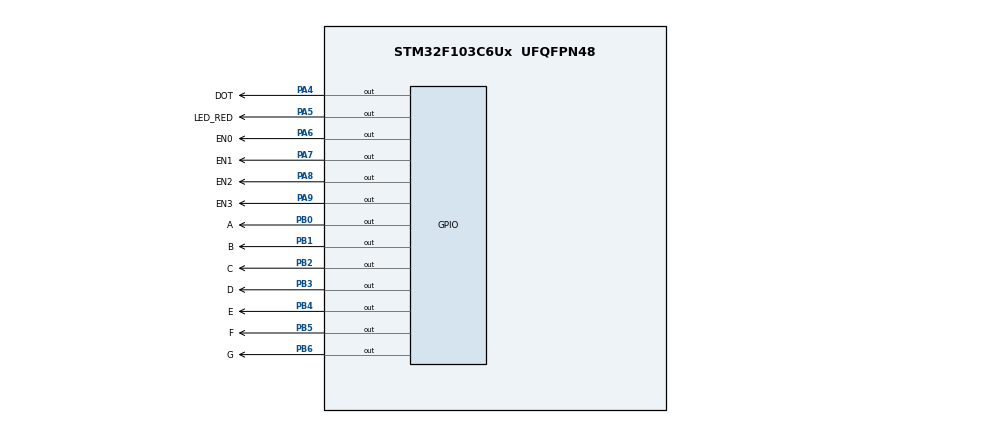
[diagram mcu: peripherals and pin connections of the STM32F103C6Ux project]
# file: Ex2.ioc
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Mcu.Family=STM32F1
Mcu.Name=STM32F103C6Ux
Mcu.Package=UFQFPN48
NVIC.PriorityGroup=NVIC_PRIORITYGROUP_4
NVIC.TIM2_IRQn=true\:0\:0\:false\:false\:true\:true\:true
PA4.GPIO_Label=DOT
PA4.Signal=GPIO_Output
PA5.GPIO_Label=LED_RED
PA5.Signal=GPIO_Output
PA6.GPIO_Label=EN0
PA6.Signal=GPIO_Output
PA7.GPIO_Label=EN1
PA7.Signal=GPIO_Output
PA8.GPIO_Label=EN2
PA8.Signal=GPIO_Output
PA9.GPIO_Label=EN3
PA9.Signal=GPIO_Output
PB0.GPIO_Label=A
PB0.Signal=GPIO_Output
PB1.GPIO_Label=B
PB1.Signal=GPIO_Output
PB2.GPIO_Label=C
PB2.Signal=GPIO_Output
PB3.GPIO_Label=D
PB3.Signal=GPIO_Output
PB4.GPIO_Label=E
PB4.Signal=GPIO_Output
PB5.GPIO_Label=F
PB5.Signal=GPIO_Output
PB6.GPIO_Label=G
PB6.Signal=GPIO_Output
ProjectManager.HeapSize=0x200
ProjectManager.StackSize=0x400
ProjectManager.TargetToolchain=STM32CubeIDE
RCC.APB1Freq_Value=8000000
RCC.APB2Freq_Value=8000000
TIM2.Period=9
TIM2.Prescaler=7999
VP_SYS_VS_ND.Mode=No_Debug
VP_TIM2_VS_ClockSourceINT.Mode=Internal
board=custom

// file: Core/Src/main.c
/* USER CODE BEGIN Header */
/**
  ******************************************************************************
  * @file           : main.c
  * @brief          : Main program body
  ******************************************************************************
  * @attention
  *
  * <h2><center>&copy; Copyright (c) 2022 STMicroelectronics.
  * All rights reserved.</center></h2>
  *
  * This software component is licensed by ST under BSD 3-Clause license,
  * the "License"; You may not use this file except in compliance with the
  * License. You may obtain a copy of the License at:
  *                        opensource.org/licenses/BSD-3-Clause
  *
  ******************************************************************************
  */
/* USER CODE END Header */
#include "main.h"

TIM_HandleTypeDef htim2;

void SystemClock_Config(void);
static void MX_TIM2_Init(void);
static void MX_GPIO_Init(void);

void display7SEG(int num)
{
	int seg[10]={0xC0, 0xF9, 0xA4, 0xB0, 0x99, 0x92, 0x82, 0xF8, 0x80, 0x90};
	HAL_GPIO_WritePin(GPIOB, A_Pin,((seg[num]>>0)&0x01));
	HAL_GPIO_WritePin(GPIOB, B_Pin,((seg[num]>>1)&0x01));
	HAL_GPIO_WritePin(GPIOB, C_Pin,((seg[num]>>2)&0x01));
	HAL_GPIO_WritePin(GPIOB, D_Pin,((seg[num]>>3)&0x01));
	HAL_GPIO_WritePin(GPIOB, E_Pin,((seg[num]>>4)&0x01));
	HAL_GPIO_WritePin(GPIOB, F_Pin,((seg[num]>>5)&0x01));
	HAL_GPIO_WritePin(GPIOB, G_Pin,((seg[num]>>6)&0x01));
}
int main(void)
{

  /* MCU Configuration--------------------------------------------------------*/

  /* Reset of all peripherals, Initializes the Flash interface and the Systick. */
  HAL_Init();

  /* Configure the system clock */
  SystemClock_Config();

  /* Initialize all configured peripherals */
  MX_TIM2_Init();
  MX_GPIO_Init();
  /* USER CODE BEGIN 2 */
  HAL_TIM_Base_Start_IT(&htim2);
  /* USER CODE END 2 */

  /* Infinite loop */
  while (1)
  {

  }
}

void SystemClock_Config(void)
{
  RCC_OscInitTypeDef RCC_OscInitStruct = {0};
  RCC_ClkInitTypeDef RCC_ClkInitStruct = {0};

  /** Initializes the RCC Oscillators according to the specified parameters
  * in the RCC_OscInitTypeDef structure.
  */
  RCC_OscInitStruct.OscillatorType = RCC_OSCILLATORTYPE_HSI;
  RCC_OscInitStruct.HSIState = RCC_HSI_ON;
  RCC_OscInitStruct.HSICalibrationValue = RCC_HSICALIBRATION_DEFAULT;
  RCC_OscInitStruct.PLL.PLLState = RCC_PLL_NONE;
  if (HAL_RCC_OscConfig(&RCC_OscInitStruct) != HAL_OK)
  {
    Error_Handler();
  }
  /** Initializes the CPU, AHB and APB buses clocks
  */
  RCC_ClkInitStruct.ClockType = RCC_CLOCKTYPE_HCLK|RCC_CLOCKTYPE_SYSCLK
                              |RCC_CLOCKTYPE_PCLK1|RCC_CLOCKTYPE_PCLK2;
  RCC_ClkInitStruct.SYSCLKSource = RCC_SYSCLKSOURCE_HSI;
  RCC_ClkInitStruct.AHBCLKDivider = RCC_SYSCLK_DIV1;
  RCC_ClkInitStruct.APB1CLKDivider = RCC_HCLK_DIV1;
  RCC_ClkInitStruct.APB2CLKDivider = RCC_HCLK_DIV1;

  if (HAL_RCC_ClockConfig(&RCC_ClkInitStruct, FLASH_LATENCY_0) != HAL_OK)
  {
    Error_Handler();
  }
}

static void MX_TIM2_Init(void)
{

  TIM_ClockConfigTypeDef sClockSourceConfig = {0};
  TIM_MasterConfigTypeDef sMasterConfig = {0};

  htim2.Instance = TIM2;
  htim2.Init.Prescaler = 7999;
  htim2.Init.CounterMode = TIM_COUNTERMODE_UP;
  htim2.Init.Period = 9;
  htim2.Init.ClockDivision = TIM_CLOCKDIVISION_DIV1;
  htim2.Init.AutoReloadPreload = TIM_AUTORELOAD_PRELOAD_DISABLE;
  if (HAL_TIM_Base_Init(&htim2) != HAL_OK)
  {
    Error_Handler();
  }
  sClockSourceConfig.ClockSource = TIM_CLOCKSOURCE_INTERNAL;
  if (HAL_TIM_ConfigClockSource(&htim2, &sClockSourceConfig) != HAL_OK)
  {
    Error_Handler();
  }
  sMasterConfig.MasterOutputTrigger = TIM_TRGO_RESET;
  sMasterConfig.MasterSlaveMode = TIM_MASTERSLAVEMODE_DISABLE;
  if (HAL_TIMEx_MasterConfigSynchronization(&htim2, &sMasterConfig) != HAL_OK)
  {
    Error_Handler();
  }

}

static void MX_GPIO_Init(void)
{
  GPIO_InitTypeDef GPIO_InitStruct = {0};

  /* GPIO Ports Clock Enable */
  __HAL_RCC_GPIOA_CLK_ENABLE();
  __HAL_RCC_GPIOB_CLK_ENABLE();

  /*Configure GPIO pin Output Level */
  HAL_GPIO_WritePin(GPIOA, DOT_Pin|LED_RED_Pin|EN0_Pin|EN1_Pin
                          |EN2_Pin|EN3_Pin, GPIO_PIN_RESET);

  /*Configure GPIO pin Output Level */
  HAL_GPIO_WritePin(GPIOB, A_Pin|B_Pin|C_Pin|D_Pin
                          |E_Pin|F_Pin|G_Pin, GPIO_PIN_RESET);

  /*Configure GPIO pins : DOT_Pin LED_RED_Pin EN0_Pin EN1_Pin
                           EN2_Pin EN3_Pin */
  GPIO_InitStruct.Pin = DOT_Pin|LED_RED_Pin|EN0_Pin|EN1_Pin
                          |EN2_Pin|EN3_Pin;
  GPIO_InitStruct.Mode = GPIO_MODE_OUTPUT_PP;
  GPIO_InitStruct.Pull = GPIO_NOPULL;
  GPIO_InitStruct.Speed = GPIO_SPEED_FREQ_LOW;
  HAL_GPIO_Init(GPIOA, &GPIO_InitStruct);

  /*Configure GPIO pins : A_Pin B_Pin C_Pin D_Pin
                           E_Pin F_Pin G_Pin */
  GPIO_InitStruct.Pin = A_Pin|B_Pin|C_Pin|D_Pin
                          |E_Pin|F_Pin|G_Pin;
  GPIO_InitStruct.Mode = GPIO_MODE_OUTPUT_PP;
  GPIO_InitStruct.Pull = GPIO_NOPULL;
  GPIO_InitStruct.Speed = GPIO_SPEED_FREQ_LOW;
  HAL_GPIO_Init(GPIOB, &GPIO_InitStruct);

}

/* USER CODE BEGIN 4 */
int count=51;
int seg=1;
int turn=0;
int led=2;
void HAL_TIM_PeriodElapsedCallback(TIM_HandleTypeDef *htim)
{
	switch(turn)
	{
	case 0:
	{
		HAL_GPIO_WritePin(GPIOA, EN0_Pin,SET);
		HAL_GPIO_WritePin(GPIOA, EN1_Pin, SET);
		HAL_GPIO_WritePin(GPIOA, EN2_Pin, SET);
		HAL_GPIO_WritePin(GPIOA, EN3_Pin, SET);
		turn=1;
		count--;
		break;
	}
	case 1:
		HAL_GPIO_WritePin(GPIOA, EN1_Pin,SET);
		HAL_GPIO_WritePin(GPIOA, EN2_Pin,SET);
		HAL_GPIO_WritePin(GPIOA, EN3_Pin,SET);
		HAL_GPIO_WritePin(GPIOA, EN0_Pin, RESET);
		seg=1;
		display7SEG(seg);
		count--;
		if(count<=0)
		{
			count=50;
			turn=2;
			led--;
			if (led<=0){
				HAL_GPIO_TogglePin(GPIOA, DOT_Pin);
				led=2;
			}
		}
		break;
	case 2:
		HAL_GPIO_WritePin(GPIOA, EN0_Pin, SET);
		HAL_GPIO_WritePin(GPIOA, EN2_Pin,SET);
		HAL_GPIO_WritePin(GPIOA, EN3_Pin,SET);
		HAL_GPIO_WritePin(GPIOA, EN1_Pin,RESET);
		seg=2;
		display7SEG(seg);
		count--;
		if(count<=0)
		{
			count=50;
			turn=3;
			led--;
			if (led<=0){
				HAL_GPIO_TogglePin(GPIOA, DOT_Pin);
				led=2;
			}
		}
		break;
	case 3:
		HAL_GPIO_WritePin(GPIOA, EN0_Pin, SET);
		HAL_GPIO_WritePin(GPIOA, EN1_Pin,SET);
		HAL_GPIO_WritePin(GPIOA, EN3_Pin,SET);
		HAL_GPIO_WritePin(GPIOA, EN2_Pin,RESET);
		seg=3;
		display7SEG(seg);
		count--;
		if(count<=0)
		{
			count=50;
			turn=4;
			led--;
			if (led<=0){
				HAL_GPIO_TogglePin(GPIOA, DOT_Pin);
				led=2;
			}
		}
		break;
	case 4:
		HAL_GPIO_WritePin(GPIOA, EN0_Pin, SET);
		HAL_GPIO_WritePin(GPIOA, EN1_Pin,SET);
		HAL_GPIO_WritePin(GPIOA, EN2_Pin,SET);
		HAL_GPIO_WritePin(GPIOA, EN3_Pin,RESET);
		seg=0;
		display7SEG(seg);
		count--;
		if(count<=0)
		{
			count=50;
			turn=1;
			led--;
			if (led<=0){
				HAL_GPIO_TogglePin(GPIOA, DOT_Pin);
				led=2;
			}
		}
		break;
	default:
		break;
	}
}
/* USER CODE END 4 */

void Error_Handler(void)
{
  __disable_irq();
  while (1)
  {
  }
}

/************************ (C) COPYRIGHT STMicroelectronics *****END OF FILE****/
